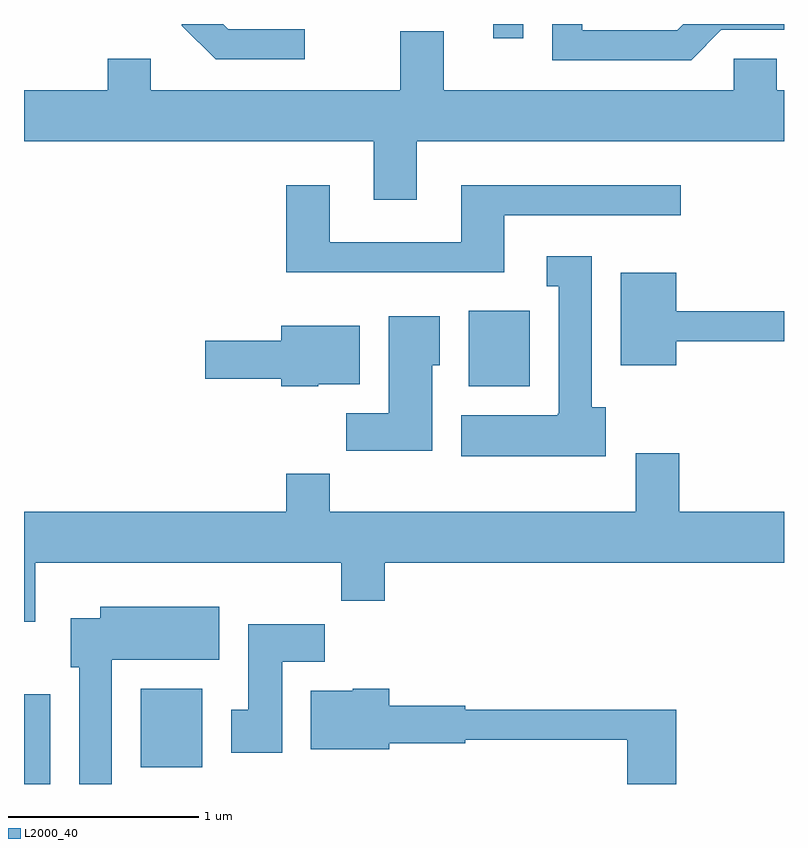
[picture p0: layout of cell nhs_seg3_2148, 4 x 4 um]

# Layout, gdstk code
import gdstk
lib = gdstk.Library(unit=1e-6, precision=1e-09)
def R(c, l, rs):  # rectangles x0, y0, x1, y1
    for r in rs: c.add(gdstk.rectangle(r[:2], r[2:], *l))
def P(c, l, *ps):  # polygons
    for p in ps: c.add(gdstk.Polygon(p, *l))
L2000_40 = (2000, 40)

nhs_seg3_2148 = lib.new_cell('nhs_seg3_2148')
R(nhs_seg3_2148, L2000_40, [(247.611,1195.892,247.749,1196.364), (248.226,1195.981,248.549,1196.394), (249.951,1197.986,250.274,1198.384), (250.081,1199.818,250.239,1199.892)])
P(nhs_seg3_2148, L2000_40, [(249.088,1199.864),(248.687,1199.864),(248.659,1199.892),(248.441,1199.892),(248.441,1199.884),(248.619,1199.706),(249.088,1199.706)],
  [(251.282,1199.861),(251.611,1199.861),(251.611,1199.892),(251.082,1199.892),(251.049,1199.859),(250.549,1199.859),(250.549,1199.892),(250.391,1199.892),(250.391,1199.701),(251.122,1199.701)],
  [(249.679,1199.276),(251.611,1199.276),(251.611,1199.544),(251.574,1199.544),(251.574,1199.709),(251.346,1199.709),(251.346,1199.544),(249.819,1199.544),(249.819,1199.854),(249.591,1199.854),(249.591,1199.544),(248.279,1199.544),(248.279,1199.709),(248.051,1199.709),(248.051,1199.544),(247.611,1199.544),(247.611,1199.276),(249.451,1199.276),(249.451,1198.966),(249.679,1198.966)],
  [(250.139,1198.886),(251.068,1198.886),(251.068,1199.044),(249.911,1199.044),(249.911,1198.744),(249.219,1198.744),(249.219,1199.044),(248.991,1199.044),(248.991,1198.586),(250.139,1198.586)],
  [(250.674,1197.874),(250.599,1197.874),(250.599,1198.669),(250.363,1198.669),(250.363,1198.511),(250.426,1198.511),(250.426,1197.84),(250.42,1197.84),(250.42,1197.834),(249.911,1197.834),(249.911,1197.616),(250.674,1197.616)],
  [(251.044,1198.221),(251.611,1198.221),(251.611,1198.379),(251.044,1198.379),(251.044,1198.584),(250.751,1198.584),(250.751,1198.096),(251.044,1198.096)],
  [(249.759,1198.096),(249.799,1198.096),(249.799,1198.354),(249.531,1198.354),(249.531,1197.844),(249.306,1197.844),(249.306,1197.646),(249.759,1197.646)],
  [(249.16,1197.996),(249.379,1197.996),(249.379,1198.304),(248.966,1198.304),(248.966,1198.224),(248.566,1198.224),(248.566,1198.026),(248.966,1198.026),(248.966,1197.986),(249.16,1197.986)],
  [(247.669,1197.056),(249.281,1197.056),(249.281,1196.856),(249.509,1196.856),(249.509,1197.056),(251.611,1197.056),(251.611,1197.324),(251.059,1197.324),(251.059,1197.634),(250.831,1197.634),(250.831,1197.324),(249.219,1197.324),(249.219,1197.524),(248.991,1197.524),(248.991,1197.324),(247.611,1197.324),(247.611,1196.746),(247.669,1196.746)],
  [(248.074,1196.546),(248.639,1196.546),(248.639,1196.824),(248.011,1196.824),(248.011,1196.764),(247.856,1196.764),(247.856,1196.506),(247.901,1196.506),(247.901,1195.892),(248.074,1195.892)],
  [(248.969,1196.536),(249.194,1196.536),(249.194,1196.734),(248.791,1196.734),(248.791,1196.284),(248.701,1196.284),(248.701,1196.056),(248.969,1196.056)],
  [(251.044,1196.284),(249.934,1196.284),(249.934,1196.304),(249.534,1196.304),(249.534,1196.394),(249.34,1196.394),(249.34,1196.384),(249.121,1196.384),(249.121,1196.076),(249.534,1196.076),(249.534,1196.106),(249.934,1196.106),(249.934,1196.126),(250.786,1196.126),(250.786,1195.892),(251.044,1195.892)])

lib.write_gds('nhs_seg3_2148.gds')
